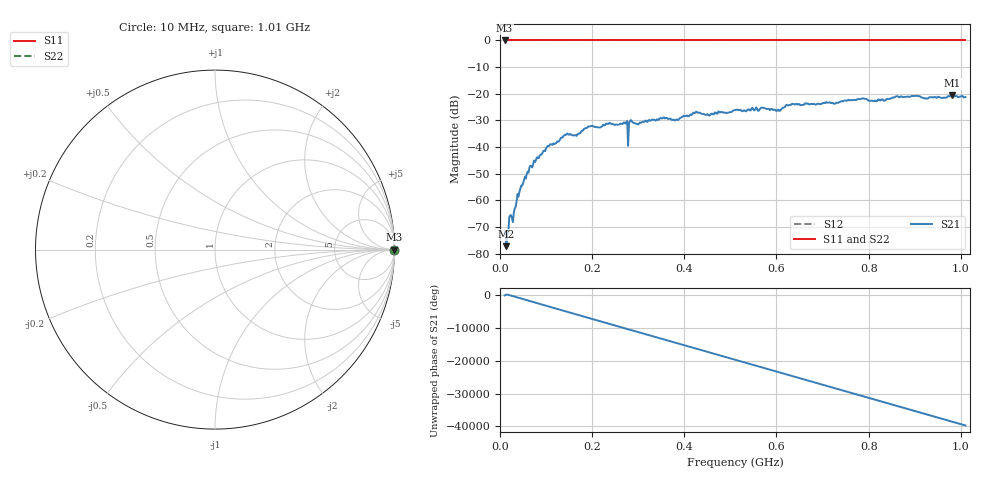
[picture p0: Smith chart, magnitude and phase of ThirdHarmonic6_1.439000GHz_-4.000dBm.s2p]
! 8/16/2025 4:37:37 PM
! C:\ANRITSUVNA\TEMP\TEMP.S2P
! CHANNEL.1
! TR.MEASUREMENT
! RAW.DATA
! RF.CORRECTION.OFF
! AVERAGING.OFF
! IF.BANDWIDTH: 5KHZ
! SWEEPTYPE:  FREQ.SWEEP(Linear)
! Reference Plane Port Info
! PORT:  PORT1  PORT2
! DISTANCE:  0  m  0  m
! TIME:  0  s  0  s
! PHASE.OFFSET:  0  deg.  0  deg.
! LOSS:  0  dB  0  dB
! REF.LOSS:  0  dB  0  dB
! REF.FREQ:  0  Hz  0  Hz
! Power Info
! POWER:  -20  dBm  -20  dBm
! EFF.POWER:  -20  dBm  -20  dBm
! SOURCE.ATTEN:  0  dB  0  dB
! TEST.ATTEN:  0  dB  0  dB
# GHZ S RI R 50.0
! FREQ.GHZ  S11RE  S11IM  S21RE  S21IM  S12RE  S12IM  S22RE  S22IM
!; PortSelection: Port_12
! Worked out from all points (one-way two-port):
!   501 points, 10 MHz to 1.01 GHz, reference 50 ohm
!   highest |S21| = -20.64 dB at 982 MHz (marker M1); lowest = -77.2 dB at 14 MHz (marker M2)
!   lowest |S11| = 0.0 dB at 10 MHz (marker M3)
!   |S11| at or under -10 dB: nowhere
!   |S22| runs from 0.0 to 0.0 dB; largest |S21 - S12| = 1.1
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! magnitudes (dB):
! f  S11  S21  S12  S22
! 10 MHz  0.0  -72.4  0.0  0.0
! 14 MHz  0.0  -77.2  0.0  0.0
! 20 MHz  0.0  -66.3  0.0  0.0
! 30 MHz  0.0  -64.5  0.0  0.0
! 42 MHz  0.0  -57.0  0.0  0.0
! 62 MHz  0.0  -49.6  0.0  0.0
! 78 MHz  0.0  -44.9  0.0  0.0
! 142 MHz  0.0  -35.5  0.0  0.0
! 178 MHz  0.0  -33.9  0.0  0.0
! 196 MHz  0.0  -32.2  0.0  0.0
! 272 MHz  0.0  -31.2  0.0  0.0
! 276 MHz  0.0  -30.3  0.0  0.0
! 282 MHz  0.0  -30.4  0.0  0.0
! 284 MHz  0.0  -29.9  0.0  0.0
! 344 MHz  0.0  -29.9  0.0  0.0
! 510 MHz  0.0  -26.1  0.0  0.0
! 604 MHz  0.0  -26.0  0.0  0.0
! 632 MHz  0.0  -24.0  0.0  0.0
! 678 MHz  0.0  -23.9  0.0  0.0
! 844 MHz  0.0  -22.0  0.0  0.0
! 982 MHz  0.0  -20.6  0.0  0.0
! 1.01 GHz  0.0  -21.2  0.0  0.0
